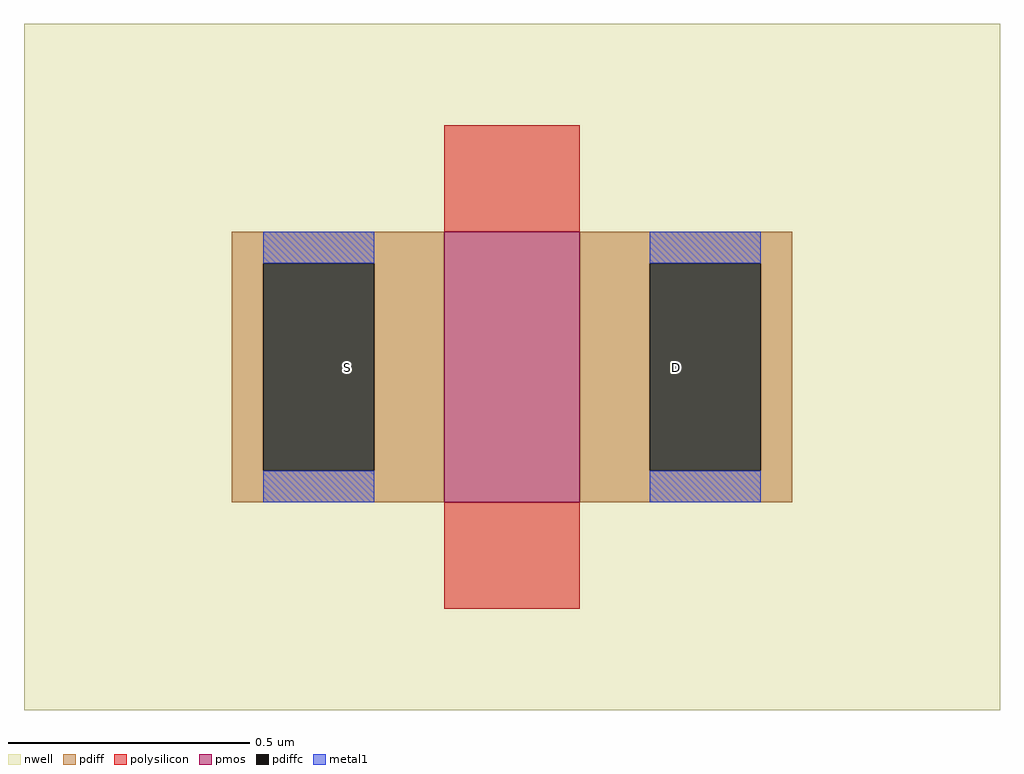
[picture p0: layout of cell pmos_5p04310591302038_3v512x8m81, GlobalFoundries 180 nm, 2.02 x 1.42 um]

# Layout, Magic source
magic
tech gf180mcuD
magscale 1 10
<< nwell >>
rect -174 -86 230 198
<< pmos >>
rect 0 0 56 112
<< pdiff >>
rect -88 99 0 112
rect -88 13 -75 99
rect -29 13 0 99
rect -88 0 0 13
rect 56 99 144 112
rect 56 13 85 99
rect 131 13 144 99
rect 56 0 144 13
<< pdiffc >>
rect -75 13 -29 99
rect 85 13 131 99
<< polysilicon >>
rect 0 112 56 156
rect 0 -44 56 0
<< metal1 >>
rect -75 99 -29 112
rect -75 0 -29 13
rect 85 99 131 112
rect 85 0 131 13
<< labels >>
flabel pdiffc -40 56 -40 56 0 FreeSans 186 0 0 0 S
flabel pdiffc 96 56 96 56 0 FreeSans 186 0 0 0 D
<< end >>
